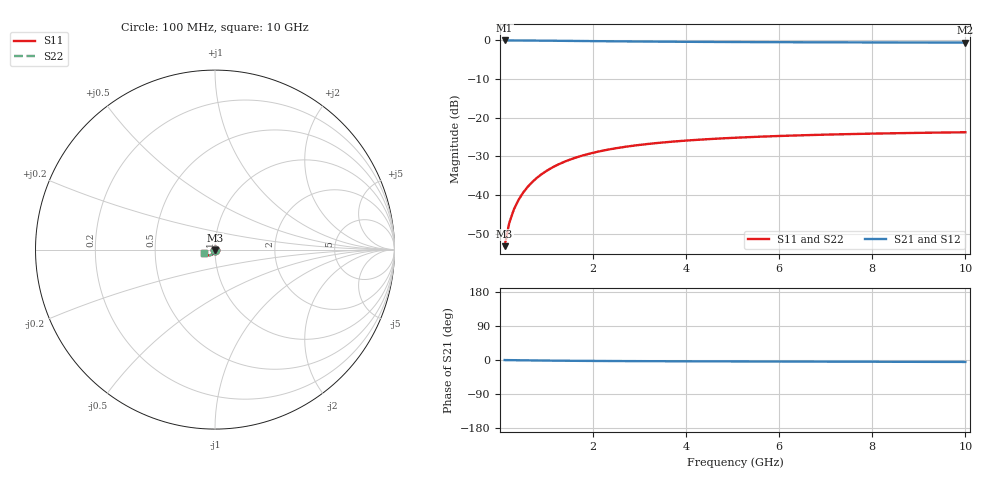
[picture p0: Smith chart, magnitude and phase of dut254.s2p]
! Touchstone file exported from HFSS 2024.1.0
!  File:  C:/UserFiles/LocalFiles/RDL_TSV_Batchsim/temp_TSV1_254_1778769335.aedt
!  Generated:  10:39:45 PM May 14, 2026
!  Design:  TSV1
!  Project:  temp_TSV1_254_1778769335
!  Setup:  Setup1
!  Solution:  Sweep
! Variables:
!  dtsv = 17.96um
!  hbump = 3um
!  htsv = 74.24um
!  lrdl = 252.1521522um
!  p = 40
!  p1 = 58.51um
!  t = 500um
!  trdl = 3um
!  wrdl = 24.89489489um
# GHz S MA R 50.000000
! Terminal data exported
! Port[1] = TSV22_T1
! Port[2] = TSV22_T2
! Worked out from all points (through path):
!   100 points, 100 MHz to 10 GHz, reference 50 ohm
!   highest |S21| = 0.00 dB at 100 MHz (marker M1); lowest = -0.6 dB at 10 GHz (marker M2)
!   lowest |S11| = -53.3 dB at 100 MHz (marker M3), VSWR 1.00, Z = 50 - j0.217 ohm
!   |S11| at or under -10 dB: start of sweep to end of sweep
!   |S22| runs from -53.3 to -23.8 dB; largest |S21 - S12| = 1.1e-14
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0.1  0.002171 -90.3  0.9998 -0.2  0.9998 -0.2  0.002171 -90.3
! Gamma 0 0 0 0
! Port Impedance 50 0 50 0
0.2  0.004348 -93.0  0.9996 -0.3  0.9996 -0.3  0.004348 -93.0
0.3  0.006512 -95.4  0.9992 -0.5  0.9992 -0.5  0.006512 -95.4
0.4  0.008648 -97.6  0.9986 -0.7  0.9986 -0.7  0.008648 -97.6
0.5  0.01075 -99.7  0.998 -0.8  0.998 -0.8  0.01075 -99.7
0.6  0.0128 -101.7  0.9972 -1.0  0.9972 -1.0  0.0128 -101.7
0.7  0.01481 -103.7  0.9963 -1.1  0.9963 -1.1  0.01481 -103.7
0.8  0.01676 -105.7  0.9953 -1.2  0.9953 -1.2  0.01676 -105.7
0.9  0.01864 -107.5  0.9942 -1.4  0.9942 -1.4  0.01864 -107.5
1.1  0.02223 -111.1  0.9918 -1.6  0.9918 -1.6  0.02223 -111.1
1.4  0.02711 -116.1  0.988 -2.0  0.988 -2.0  0.02711 -116.1
1.6  0.03002 -119.1  0.9854 -2.1  0.9854 -2.1  0.03002 -119.1
1.8  0.03269 -121.9  0.9828 -2.3  0.9828 -2.3  0.03269 -121.9
2.1  0.03624 -125.7  0.979 -2.5  0.979 -2.5  0.03624 -125.7
2.5  0.04028 -130.1  0.9743 -2.8  0.9743 -2.8  0.04028 -130.1
2.9  0.04365 -133.9  0.97 -3.0  0.97 -3.0  0.04365 -133.9
3.4  0.04714 -137.9  0.9654 -3.2  0.9654 -3.2  0.04714 -137.9
4.2  0.05149 -143.1  0.9592 -3.5  0.9592 -3.5  0.05149 -143.1
5.1  0.05516 -147.7  0.9537 -3.8  0.9537 -3.8  0.05516 -147.7
6.7  0.05967 -153.9  0.9467 -4.2  0.9467 -4.2  0.05967 -153.9
8.4  0.06278 -158.7  0.9417 -4.7  0.9417 -4.7  0.06278 -158.7
10  0.06477 -162.2  0.9384 -5.1  0.9384 -5.1  0.06477 -162.2
